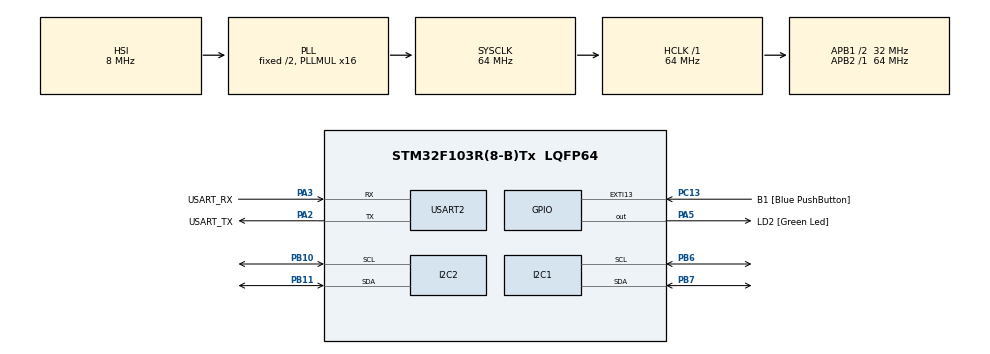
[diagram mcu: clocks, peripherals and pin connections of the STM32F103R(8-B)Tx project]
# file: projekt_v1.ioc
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Mcu.Family=STM32F1
Mcu.Name=STM32F103R(8-B)Tx
Mcu.Package=LQFP64
NVIC.EXTI15_10_IRQn=true\:0\:0\:false\:false\:true\:true\:true
NVIC.PriorityGroup=NVIC_PRIORITYGROUP_4
NVIC.USART2_IRQn=true\:0\:0\:false\:false\:true\:true\:true
PA13.GPIO_Label=TMS
PA13.Mode=Serial_Wire
PA13.Signal=SYS_JTMS-SWDIO
PA14.GPIO_Label=TCK
PA14.Mode=Serial_Wire
PA14.Signal=SYS_JTCK-SWCLK
PA2.GPIO_Label=USART_TX
PA2.GPIO_Mode=GPIO_MODE_AF_PP
PA2.GPIO_PuPd=GPIO_NOPULL
PA2.GPIO_Speed=GPIO_SPEED_FREQ_LOW
PA2.Mode=Asynchronous
PA2.Signal=USART2_TX
PA3.GPIO_Label=USART_RX
PA3.GPIO_Mode=GPIO_MODE_AF_PP
PA3.GPIO_PuPd=GPIO_NOPULL
PA3.GPIO_Speed=GPIO_SPEED_FREQ_LOW
PA3.Mode=Asynchronous
PA3.Signal=USART2_RX
PA5.GPIO_Label=LD2 [Green Led]
PA5.GPIO_ModeDefaultOutputPP=GPIO_MODE_OUTPUT_PP
PA5.GPIO_PuPd=GPIO_NOPULL
PA5.GPIO_Speed=GPIO_SPEED_FREQ_LOW
PA5.Signal=GPIO_Output
PB10.Mode=I2C
PB10.Signal=I2C2_SCL
PB11.Mode=I2C
PB11.Signal=I2C2_SDA
PB3.GPIO_Label=SWO
PB3.Signal=SYS_JTDO-TRACESWO
PB6.Mode=I2C
PB6.Signal=I2C1_SCL
PB7.Mode=I2C
PB7.Signal=I2C1_SDA
PC13-TAMPER-RTC.GPIO_Label=B1 [Blue PushButton]
PC13-TAMPER-RTC.GPIO_PuPd=GPIO_NOPULL
PC13-TAMPER-RTC.Signal=GPXTI13
PC14-OSC32_IN.Mode=LSE-External-Oscillator
PC14-OSC32_IN.Signal=RCC_OSC32_IN
PC15-OSC32_OUT.Mode=LSE-External-Oscillator
PC15-OSC32_OUT.Signal=RCC_OSC32_OUT
PD0-OSC_IN.Mode=HSE-External-Clock-Source
PD0-OSC_IN.Signal=RCC_OSC_IN
PD1-OSC_OUT.Mode=HSE-External-Clock-Source
PD1-OSC_OUT.Signal=RCC_OSC_OUT
ProjectManager.HeapSize=0x200
ProjectManager.StackSize=0x400
ProjectManager.TargetToolchain=STM32CubeIDE
RCC.AHBFreq_Value=64000000
RCC.APB1CLKDivider=RCC_HCLK_DIV2
RCC.APB1Freq_Value=32000000
RCC.APB1TimFreq_Value=64000000
RCC.APB2Freq_Value=64000000
RCC.APB2TimFreq_Value=64000000
RCC.HCLKFreq_Value=64000000
RCC.PLLMUL=RCC_PLL_MUL16
RCC.RTCClockSelection=RCC_RTCCLKSOURCE_LSE
RCC.SYSCLKFreq_VALUE=64000000
RCC.SYSCLKSource=RCC_SYSCLKSOURCE_PLLCLK
RCC.USBFreq_Value=64000000
USART2.VirtualMode=VM_ASYNC
board=NUCLEO-F103RB

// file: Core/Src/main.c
/* USER CODE BEGIN Header */
/**
  ******************************************************************************
  * @file           : main.c
  * @brief          : Main program body
  ******************************************************************************
  * @attention
  *
  * <h2><center>&copy; Copyright (c) 2021 STMicroelectronics.
  * All rights reserved.</center></h2>
  *
  * This software component is licensed by ST under BSD 3-Clause license,
  * the "License"; You may not use this file except in compliance with the
  * License. You may obtain a copy of the License at:
  *                        opensource.org/licenses/BSD-3-Clause
  *
  ******************************************************************************
  */
/* USER CODE END Header */
#include "main.h"

/* USER CODE BEGIN Includes */
#include <string.h>
#include <stdio.h>
#include <stdbool.h>
#include <stdarg.h>
#include <string.h>
#include <inttypes.h>
#include "i2c-lcd.h"
/* USER CODE END Includes */

I2C_HandleTypeDef hi2c1;
I2C_HandleTypeDef hi2c2;

UART_HandleTypeDef huart2;

/* USER CODE BEGIN PV */
#define USART_TXBUF_LEN 1512
#define USART_RXBUF_LEN 256

uint8_t USART_TxBuf[USART_TXBUF_LEN];
uint8_t USART_RxBuf[USART_RXBUF_LEN];
__IO int USART_TX_Empty = 0; //__IO = volatile = jest to informacja dla kompilatora że nie ma prawa zaoptymalizować obsługi,
__IO int USART_TX_Busy = 0;  //nie można tej zmiennej wczytywać do rejestru,
__IO int USART_RX_Empty = 0; //należy ją za każdym razem pobierać z pamięci, jest ulotna, jej wartość może się zmienić w każdej chwili
__IO int USART_RX_Busy = 0;

int interval = 2000;
uint16_t timer = 0;
uint8_t cycle = 0;

uint8_t celsiusSet = 1;

float farenheitTemp;
float measurements[1024];
uint16_t measurementsIndex = 0;

unsigned char commandBuffer[128];
unsigned char tempCommandBuffer[128];
uint8_t commandBufferSize = 0;
uint8_t frameStartDetected = 0;
uint8_t frameEndDetected = 0;
uint8_t escape = 0;
uint8_t checksum;

struct lcd_disp disp;

uint8_t showEnd = 0;
uint8_t showData = 0;
uint16_t showDataIndex = 0;
uint8_t showDataError = 0;
uint8_t showUnit = 0;
uint8_t showDelete = 0;
uint8_t showInterval = 0;
uint8_t showIntervalError = 0;
uint16_t showIntervalValue = 0;
uint8_t showWrongCommand = 0;
uint8_t showChecksums = 0;
uint8_t showWrongFrameSize = 0;
uint8_t showingMessage = 0;

uint16_t showTimer = 0;

/* USER CODE END PV */

void SystemClock_Config(void);
static void MX_GPIO_Init(void);
static void MX_USART2_UART_Init(void);
static void MX_I2C2_Init(void);
static void MX_I2C1_Init(void);

/* USER CODE BEGIN 0 */

uint8_t USART_isNotEmpty(){ //jeśli coś jest w buforze kołowym to zwraca 1, jeśli jest pusty to zwraca 0
	if(USART_RX_Empty == USART_RX_Busy) {
		return 0;
	} else {
		return 1;
	}
} //USART_kbhit

int USART_getchar() {

	uint8_t tmp;

	if(USART_RX_Empty != USART_RX_Busy) {
		tmp = USART_RxBuf[USART_RX_Busy];
		USART_RX_Busy++;

		if(USART_RX_Busy >= USART_RXBUF_LEN) USART_RX_Busy = 0;

		return tmp;
	} else return -1;
}

uint8_t USART_getline(char *buf) {

	static uint8_t bf[128];
	static uint8_t idx = 0;
	int i;
	uint8_t ret;

	while(USART_isNotEmpty()) {
		bf[idx] = USART_getchar();

		if(bf[idx] == 10 || bf[idx] == 13) { 	//sprawdzenie czy znak jest znakiem końca linii lub powrotem karetki
			bf[idx] = 0;						//jeśli jest to podmieniany jest na 0, ponieważ w c string kończy się zerem

			for(i=0; i<=idx; i++){
				buf[i] = bf[i];
			}

			ret = idx;
			idx = 0;
			return ret; //zwracam odebraną ilość znaków
		} else {
			idx++;
			if(idx>=128) idx = 0;
		}
	}
	return 0;
} //USART_getline

void USART_fsend(char * format,...) {

	char tmp_rs[256];
	int i;
	__IO int idx;
	va_list arglist;
	va_start(arglist, format);
	vsprintf(tmp_rs, format, arglist);
	va_end(arglist);

	idx = USART_TX_Empty;

	for(i=0; i<strlen(tmp_rs); i++) {
		USART_TxBuf[idx] = tmp_rs[i];
		idx++;
		if (idx >= USART_TXBUF_LEN) idx = 0;
	}

	__disable_irq();

	if((USART_TX_Empty == USART_TX_Busy) && (__HAL_UART_GET_FLAG(&huart2, UART_FLAG_TXE) == SET)) { //sprawdzanie dodatowo zajętości bufora nadajnika
		USART_TX_Empty = idx;																		//TXE = SET mówi o tym że bufor nadajnika jest pusty
		uint8_t tmp = USART_TxBuf[USART_TX_Busy];
		USART_TX_Busy++;

		if(USART_TX_Busy >= USART_TXBUF_LEN) USART_TX_Busy = 0;
		HAL_UART_Transmit_IT(&huart2, &tmp, 1);

	} else {
		USART_TX_Empty = idx;
	}
	__enable_irq();
} //USART_fsend

void HAL_UART_TxCpltCallback(UART_HandleTypeDef *huart){
	if(huart == &huart2) {
		if(USART_TX_Empty != USART_TX_Busy) { //sprawdzenie czy jest coś do wysłania
			uint8_t tmp = USART_TxBuf[USART_TX_Busy];
			USART_TX_Busy++;
			if(USART_TX_Busy >= USART_TXBUF_LEN) USART_TX_Busy = 0;
			HAL_UART_Transmit_IT(&huart2, &tmp, 1);
		}
	}
}

void HAL_UART_RxCpltCallback(UART_HandleTypeDef *huart) {
	if(huart == &huart2) {
		USART_RX_Empty++;
		if(USART_RX_Empty >= USART_RXBUF_LEN) USART_RX_Empty = 0;
		HAL_UART_Receive_IT(&huart2, &USART_RxBuf[USART_RX_Empty], 1);
	}
}

unsigned char crc8(unsigned char poly, unsigned char* data, uint8_t size) {
	/*
	 * Jest to funkcja odpowiedzialna za obliczanie
	 * sumy kontrolnej z przesłanych danych.
	 * */
    unsigned char crc = 0x00;
    int bit;

    while(size--) {
        crc ^= *data++;
        for(bit=0; bit<8; bit++) {
            if(crc & 0x80) {
                crc = (crc << 1) ^ poly;
            } else {
                crc <<= 1;
            }
        }
    }

    return crc;

}

void sendPayload(char* format, ...) {
	/*
	 * Jest to funkcja odpowiedzialna za wysyłanie
	 * komunikatów w sposób odpowiedni dla zaprojektowanego
	 * protokołu komunikacyjnego.
	 * */
	unsigned char payload[256];
	va_list payload_list;
	va_start(payload_list, format);
	vsprintf((char *)payload, format, payload_list);
	va_end(payload_list);

	USART_fsend("!%s%c;\r\n", payload, crc8(0xA6, payload, strlen((const char *)payload)));
}

void commandCheck(unsigned char* data, uint8_t size, unsigned char checksum) {
	/*
	 * Jest to funkcja odpowiedzialna za zdekodowanie
	 * otrzymanej komendy. Jako argumenty przyjmuje
	 * ona przesłaną komendę, jej rozmiar oraz przesłaną
	 * sumę kontrolną w celach jej weryfikacji.
	 * */

	unsigned char checksumCheck = crc8(0xA6, data, size);

	/*
	 * Pierwszym krokiem jest obliczenie sumy kontrolnej
	 * z otrzymanej komendy i prównanie jej z tą przesłaną.
	 * Jeśli się zgadzają to następnie komenda jest analizowana.
	 * */
	if(checksum == checksumCheck) {
		sendPayload("Checksums are correct");

		int interval_value;
		uint16_t read_value;

		if(memcmp(data,"setunit:c",9) == 0) { //memcompare
			sendPayload("Setting unit to Celsius.");
			celsiusSet = 1;
			showUnit = 1;
		} else if(memcmp(data,"setunit:f",9) == 0) {
			sendPayload("Setting unit to Farenheit.");
			celsiusSet = 0;
			showUnit = 1;
		} else if(sscanf((const char *)data,"setint:%i",&interval_value)) { //setting interval
			if(interval_value > 0) {
				sendPayload("Interval set to %i", interval_value);
				interval = interval_value;
				showIntervalValue = interval_value;
				showInterval = 1;
			} else {
				sendPayload("Interval cannot be less than 1");
				showIntervalError = 1;
			}

		} else if(sscanf((const char *)data,"read:%" SCNu16, &read_value)) { //reading saved measurement
			if(read_value >= measurementsIndex) {
				sendPayload("Value #%" SCNu16 " wasn't written yet", read_value);
				showDataError = 1;
				showDataIndex = read_value;
			} else {
				if(celsiusSet) {
					sendPayload("Value #%" SCNu16 ": %.2f C", read_value, measurements[read_value]);
					showData = 1;
					showDataIndex = read_value;
				} else {
					farenheitTemp = measurements[read_value] * 9/5 + 32;
					sendPayload("Value #%" SCNu16 ": %.2f F", read_value, farenheitTemp);
					showData = 1;
					showDataIndex = read_value;
				}

			}
		} else if(memcmp(data,"deldata",7) == 0) { //deleting saved measurements
			sendPayload("Deleting saved measurements");
			memset(measurements, 0, sizeof measurements);
			measurementsIndex = 0;
			showDelete = 1;
		} else {
			sendPayload("Command not recognized");
			showWrongCommand = 1;
		}

	}
	/*
	 * Jeśli sumy kontrolne się nie zgadzają
	 * to przesyłany oraz wyświetlany jest
	 * odpowiedni komunikat.
	 * */
	else {
		sendPayload("Checksums don't match!");
		showChecksums = 1;
	}

}

float readTemp() {
	/*
	 * Jest to funkcja odpowiedzialna za odczytywanie
	 * termperatury z czujnika MCP9808. Zwraca ona
	 * obliczoną temperaturę przedstawioną w stopniach
	 * Celsjusza.
	 * */
	float temperature;
	uint8_t temp[2];
	float f_temp[2];

	if(HAL_I2C_Mem_Read(&hi2c2, (0x18 << 1) | 0x01, 0x05, 1, temp, 2, 10) == HAL_OK) {
		temp[0] = temp[0] & 0x1F;
		if((temp[0] & 0x10) == 0x10) {
		  temp[0] = temp[0] & 0x0F;
		  f_temp[0] = temp[0];
		  f_temp[1] = temp[1];
		  temperature = 256 - (f_temp[0] * 16 + f_temp[1] / 16);
		} else {
		  f_temp[0] = temp[0];
		  f_temp[1] = temp[1];
		  temperature = (f_temp[0] * 16 + f_temp[1] / 16);
		}
	} else return -1000;

	return temperature;
}

void showTemp(uint8_t i) {
	/*
	 * Jest to funkcja odpowiedzialna za wyświetlanie
	 * temperatury na wyświetlaczu. Przyjmuje jako argument
	 * i, które oznacza który odczyt chcemy wyświetlić,
	 * np. i=0 oznacza że chcemy wyświetlić najnowszy
	 * odczyt, a i=1 oznacza że chcemy odczytać przedostatni
	 * odczyt.
	 **/
	  if(celsiusSet) {
		  sprintf((char *)disp.f_line, "Temperature:");
		  sprintf((char *)disp.s_line, "Celsius    %.2f", measurements[measurementsIndex - i]);
		  if(lcd_display(&disp) == 0) {
			  sendPayload("Display error");
		  }
	  } else {
		  farenheitTemp = measurements[measurementsIndex - i] * 9/5 + 32;
			  sprintf((char *)disp.f_line, "Temperature:");
			  sprintf((char *)disp.s_line, "Farenheit  %.2f", farenheitTemp);
			  if(lcd_display(&disp) == 0) {
				  sendPayload("Display error");
			  }
	  }
}

/* USER CODE END 0 */

int main(void)
{

  /* MCU Configuration--------------------------------------------------------*/

  /* Reset of all peripherals, Initializes the Flash interface and the Systick. */
  HAL_Init();

  /* Configure the system clock */
  SystemClock_Config();

  /* Initialize all configured peripherals */
  MX_GPIO_Init();
  MX_USART2_UART_Init();
  MX_I2C2_Init();
  MX_I2C1_Init();
  /* USER CODE BEGIN 2 */
  HAL_UART_Receive_IT(&huart2, &USART_RxBuf[0], 1);
  uint8_t read_char;

  disp.addr = (0x27 << 1);
  disp.bl = true;
  if(lcd_init(&disp) == 0) {
	  sendPayload("Display error");
  }
  /* USER CODE END 2 */

  /* Infinite loop */
  /* USER CODE BEGIN WHILE */
  while (1)
  {

	  /*
	   * Ta sekcja kodu odpowiedzialna jest za kolekcjonowanie poprawnej ramki
	   * */

	  if(USART_isNotEmpty()) {
		  read_char = USART_getchar();
		  /*
		   *  Jeśli przesłany znak jest znakiem początku ramki
		   *  to tablica w której zbierana jest ramka jest czyszczona
		   *  (wszystkie jej elementy są zerowane) oraz indeks
		   *  zapisywanych wartości jest również zerowany. Dodatkowo
		   *  ustawiana na 1 jest również flaga wykrycia początku ramki,
		   *  która jest wykorzystywana dalej w kodzie. Zerowany jest
		   *  również indeks rozmiaru ramki.
		   *  */
		  if(read_char == 0x21) {
			  frameStartDetected = 1;
			  memset(commandBuffer, 0, sizeof commandBuffer);
			  commandBufferSize = 0;
		  }
		  /*
		   * Jeśli przesłany znak jest znakiem końca ramki i flaga
		   * wykrycia początku ramki jest ustawiona wtedy otrzymana
		   * ramka zostaje poddana analizie
		   * */
		  else if(read_char == 0x3B && frameStartDetected) {
			  if(commandBufferSize > 2) {

				  /*
				   * Jeśli rozmiar ramki jest poprawny to wyciągana jest
				   * suma kontrolna z danych (ostatni element w tablicy)
				   * i czysta komenda np. "setint:1000" przesyłana jest
				   * do analizy do funkcji commandCheck. Po analizie
				   * flaga wykrycia początku i końca ramki jest resetowana
				   * co pozwala na odebranie kolejnego komunikatu
				   * */

				  checksum = commandBuffer[commandBufferSize - 1];
				  memset(tempCommandBuffer, 0, sizeof tempCommandBuffer);
				  memcpy(tempCommandBuffer, commandBuffer, commandBufferSize - 1);

				  commandCheck(tempCommandBuffer, commandBufferSize-1, checksum);

				  frameStartDetected = 0;
				  frameEndDetected = 0;

				  /*
				   * jeśli ramka jest zbyt krótka to flaga wykrycia
				   * początku oraz końca ramki jest resetowana
				   * oraz wysyłany jest komunikat o błędzie
				   * */

			  } else {
				  frameStartDetected = 0;
				  frameEndDetected = 0;
				  showWrongFrameSize = 1;
				  sendPayload("Frame too short");
			  }
		  }
		  /*
		   * Sprawdzenie stanu flagi startu oraz końca ramki oraz przesyłanego znaku.
		   * W momencie kiedy nie jest przesyłany znak początku ramki
		   * (nie chcemy dodawać go do ładunku) dodawana jest treść ramki do ładunku.
		   * W przypadku przesyłania znaków kodowanych:
		   * - "\%" - znak początku ramki
		   * - "\^" - znak końca ramki
		   * Są one rozkodowywane oraz do ładunku dodawany jest rozkodowany znak
		   * */
		  else if(frameStartDetected && !frameEndDetected && read_char != 0x21) {
				 if(read_char == 0x5C && escape == 0) {
					 escape = 1;
				 } else if(escape == 0) {
					commandBuffer[commandBufferSize++] = read_char;
				 } else {
					if(read_char == 0x25) {
						commandBuffer[commandBufferSize++] = 0x21;
					} else if(read_char == 0x5E) {
						commandBuffer[commandBufferSize++] = 0x3B;
					} else if(read_char == 0x5C) {
						commandBuffer[commandBufferSize++] = 0x5C;
					} else {
						frameStartDetected = 0;
					}
					escape = 0;
				 }
				/*
				 * Po każdym dodaniu znaku do ładunku zostaje
				 * sprawdzany indeks rozmiaru ramki, który
				 * nie może przekraczać 126 elementów
				 * 1-125 dane + 1 CRC
				 * */
				if(commandBufferSize > 126) {
					frameStartDetected = 0;
					showWrongFrameSize = 1;
					sendPayload("Frame too long");
				}
		  }
	  }

	  /*
	   * Ta sekcja kodu odpowiedzialna jest za wyświetlanie
	   * temperatury w odpowieniej jednostce w zadanym
	   * interwale czasowym
	   * */

	  if(cycle) {
		  measurements[measurementsIndex] = readTemp();
		  cycle = 0;

		  /*
		   * Sprawdzane jest czy udało się poprawnie odczytać wartość
		   * z termometra - wartość "-1000" oznacza błąd odczytu.
		   * Jeśli odczyt jest prawidłowy to wyświetlana jest
		   * temperatura w odpowiedniej jednostce.
		   * */
		  if(measurements[measurementsIndex] != -1000) {
			  if(showingMessage == 0) {
				  showTemp(0);
			  }
			  celsiusSet ? sendPayload("Temperature: %.2f C", measurements[measurementsIndex]) : sendPayload("Temperature: %.2f F", farenheitTemp);
			  measurementsIndex++;
			  if(measurementsIndex > 1023) {
				  measurementsIndex = 0;
			  }
		  }
		  /*
		   * W przypadku błędu odczytu, odpowiedni komunikat jest przesyłany
		   * oraz wyświetlany na wyświetlaczu
		   * */
		  else {
			  sendPayload("MCPC9808 sensor error");
			  sprintf((char *)disp.f_line, "  !!! ERROR !!!");
			  sprintf((char *)disp.s_line, "MCPC9808 NOT CON");
			  if(lcd_display(&disp) == 0) {
				  sendPayload("Display error");
			  }
		  }
	  }

	  /*
	   * Ta sekcja odpowiedzialna jest za wyświetlanie odpowiednich komunikatów
	   * */

	  if(showChecksums) {
		  if(showingMessage == 0) {
			  showingMessage = 1;
			  showTimer = 0;
			  showEnd = 0;
			  sprintf((char *)disp.f_line, "   Checksums");
			  sprintf((char *)disp.s_line, "   don't match");

			  if(lcd_display(&disp) == 0) {
				  sendPayload("Display error");
			  }
		  }
		  if(showEnd) {
			  showChecksums = 0;
			  showingMessage = 0;
			  showTemp(1);
		  }
	  } else if(showData) {
		  if(showingMessage == 0) {
			  showingMessage = 1;
			  showTimer = 0;
			  showEnd = 0;
			  if(celsiusSet) {
				  sprintf((char *)disp.f_line, "Measurement#%d", showDataIndex);
				  sprintf((char *)disp.s_line, "     %.2fC", measurements[showDataIndex]);
				  if(lcd_display(&disp) == 0) {
					  sendPayload("Display error");
				  }
			  } else {
				  farenheitTemp = measurements[showDataIndex] * 9/5 + 32;
				  sprintf((char *)disp.f_line, "Measurement#%d", showDataIndex);
				  sprintf((char *)disp.s_line, "     %.2fF", farenheitTemp);
				  if(lcd_display(&disp) == 0) {
					  sendPayload("Display error");
				  }
			  }
		  }
		  if(showEnd) {
			  showData = 0;
			  showingMessage = 0;
			  showTemp(1);
		  }
	  } else if(showDataError) {
		  if(showingMessage == 0) {
			  showingMessage = 1;
			  showTimer = 0;
			  showEnd = 0;
			  sprintf((char *)disp.f_line, "Value #%d was", showDataIndex);
			  sprintf((char *)disp.s_line, "not yet written");

			  if(lcd_display(&disp) == 0) {
				  sendPayload("Display error");
			  }
		  }
		  if(showEnd) {
			  showDataError = 0;
			  showingMessage = 0;
			  showTemp(1);
		  }
	  } else if(showDelete) {
		  if(showingMessage == 0) {
			  showingMessage = 1;
			  showTimer = 0;
			  showEnd = 0;
			  sprintf((char *)disp.f_line, "All measurements");
			  sprintf((char *)disp.s_line, "has been deleted");

			  if(lcd_display(&disp) == 0) {
				  sendPayload("Display error");
			  }
		  }

		  if(showEnd) {
			  showDelete = 0;
			  showingMessage = 0;
			  showTemp(1);
		  }
	  } else if(showWrongCommand) {
		  if(showingMessage == 0) {
			  showingMessage = 1;
			  showTimer = 0;
			  showEnd = 0;
			  sprintf((char *)disp.f_line, "  Command not");
			  sprintf((char *)disp.s_line, "  recognized");

			  if(lcd_display(&disp) == 0) {
				  sendPayload("Display error");
			  }
		  }
		  if(showEnd) {
			  showWrongCommand = 0;
			  showingMessage = 0;
			  showTemp(1);
		  }
	  } else if(showUnit) {
		  if(!cycle && !showingMessage) {
			  showingMessage = 1;
			  showTemp(1);
		  }

		  if(cycle) {
			  showUnit = 0;
			  showingMessage = 0;
		  }
	  } else if(showInterval) {
		  if(showingMessage == 0) {
			  showingMessage = 1;
			  showTimer = 0;
			  showEnd = 0;
			  sprintf((char *)disp.f_line, "Interval was");
			  sprintf((char *)disp.s_line, "set to %dms", showIntervalValue);
			  if(lcd_display(&disp) == 0) {
				  sendPayload("Display error");
			  }
		  }
		  if(showEnd) {
			  showInterval = 0;
			  showingMessage = 0;
			  showTemp(1);
		  }
	  } else if(showIntervalError) {
		  if(showingMessage == 0) {
			  showingMessage = 1;
			  showTimer = 0;
			  showEnd = 0;
			  sprintf((char *)disp.f_line, " Interval can't");
			  sprintf((char *)disp.s_line, " be less than 1");

			  if(lcd_display(&disp) == 0) {
				  sendPayload("Display error");
			  }
		  }
		  if(showEnd) {
			  showIntervalError = 0;
			  showingMessage = 0;
			  showTemp(1);
		  }
	  } else if(showWrongFrameSize) {
		  if(showingMessage == 0) {
			  showingMessage = 1;
			  showTimer = 0;
			  showEnd = 0;
			  sprintf((char *)disp.f_line, "   Wrong frame");
			  sprintf((char *)disp.s_line, "      size");

			  if(lcd_display(&disp) == 0) {
				  sendPayload("Display error");
			  }
		  }
		  if(showEnd) {
			  showWrongFrameSize = 0;
			  showingMessage = 0;
			  showTemp(1);
		  }
	  }
  }

    /* USER CODE END WHILE */

}

void SystemClock_Config(void)
{
  RCC_OscInitTypeDef RCC_OscInitStruct = {0};
  RCC_ClkInitTypeDef RCC_ClkInitStruct = {0};

  /** Initializes the RCC Oscillators according to the specified parameters
  * in the RCC_OscInitTypeDef structure.
  */
  RCC_OscInitStruct.OscillatorType = RCC_OSCILLATORTYPE_HSI;
  RCC_OscInitStruct.HSIState = RCC_HSI_ON;
  RCC_OscInitStruct.HSICalibrationValue = RCC_HSICALIBRATION_DEFAULT;
  RCC_OscInitStruct.PLL.PLLState = RCC_PLL_ON;
  RCC_OscInitStruct.PLL.PLLSource = RCC_PLLSOURCE_HSI_DIV2;
  RCC_OscInitStruct.PLL.PLLMUL = RCC_PLL_MUL16;
  if (HAL_RCC_OscConfig(&RCC_OscInitStruct) != HAL_OK)
  {
    Error_Handler();
  }
  /** Initializes the CPU, AHB and APB buses clocks
  */
  RCC_ClkInitStruct.ClockType = RCC_CLOCKTYPE_HCLK|RCC_CLOCKTYPE_SYSCLK
                              |RCC_CLOCKTYPE_PCLK1|RCC_CLOCKTYPE_PCLK2;
  RCC_ClkInitStruct.SYSCLKSource = RCC_SYSCLKSOURCE_PLLCLK;
  RCC_ClkInitStruct.AHBCLKDivider = RCC_SYSCLK_DIV1;
  RCC_ClkInitStruct.APB1CLKDivider = RCC_HCLK_DIV2;
  RCC_ClkInitStruct.APB2CLKDivider = RCC_HCLK_DIV1;

  if (HAL_RCC_ClockConfig(&RCC_ClkInitStruct, FLASH_LATENCY_2) != HAL_OK)
  {
    Error_Handler();
  }
}

static void MX_I2C1_Init(void)
{

  hi2c1.Instance = I2C1;
  hi2c1.Init.ClockSpeed = 100000;
  hi2c1.Init.DutyCycle = I2C_DUTYCYCLE_2;
  hi2c1.Init.OwnAddress1 = 0;
  hi2c1.Init.AddressingMode = I2C_ADDRESSINGMODE_7BIT;
  hi2c1.Init.DualAddressMode = I2C_DUALADDRESS_DISABLE;
  hi2c1.Init.OwnAddress2 = 0;
  hi2c1.Init.GeneralCallMode = I2C_GENERALCALL_DISABLE;
  hi2c1.Init.NoStretchMode = I2C_NOSTRETCH_DISABLE;
  if (HAL_I2C_Init(&hi2c1) != HAL_OK)
  {
    Error_Handler();
  }

}

static void MX_I2C2_Init(void)
{

  hi2c2.Instance = I2C2;
  hi2c2.Init.ClockSpeed = 100000;
  hi2c2.Init.DutyCycle = I2C_DUTYCYCLE_2;
  hi2c2.Init.OwnAddress1 = 0;
  hi2c2.Init.AddressingMode = I2C_ADDRESSINGMODE_7BIT;
  hi2c2.Init.DualAddressMode = I2C_DUALADDRESS_DISABLE;
  hi2c2.Init.OwnAddress2 = 0;
  hi2c2.Init.GeneralCallMode = I2C_GENERALCALL_DISABLE;
  hi2c2.Init.NoStretchMode = I2C_NOSTRETCH_DISABLE;
  if (HAL_I2C_Init(&hi2c2) != HAL_OK)
  {
    Error_Handler();
  }

}

static void MX_USART2_UART_Init(void)
{

  huart2.Instance = USART2;
  huart2.Init.BaudRate = 115200;
  huart2.Init.WordLength = UART_WORDLENGTH_8B;
  huart2.Init.StopBits = UART_STOPBITS_1;
  huart2.Init.Parity = UART_PARITY_NONE;
  huart2.Init.Mode = UART_MODE_TX_RX;
  huart2.Init.HwFlowCtl = UART_HWCONTROL_NONE;
  huart2.Init.OverSampling = UART_OVERSAMPLING_16;
  if (HAL_UART_Init(&huart2) != HAL_OK)
  {
    Error_Handler();
  }

}

static void MX_GPIO_Init(void)
{
  GPIO_InitTypeDef GPIO_InitStruct = {0};

  /* GPIO Ports Clock Enable */
  __HAL_RCC_GPIOC_CLK_ENABLE();
  __HAL_RCC_GPIOD_CLK_ENABLE();
  __HAL_RCC_GPIOA_CLK_ENABLE();
  __HAL_RCC_GPIOB_CLK_ENABLE();

  /*Configure GPIO pin Output Level */
  HAL_GPIO_WritePin(LD2_GPIO_Port, LD2_Pin, GPIO_PIN_RESET);

  /*Configure GPIO pin : B1_Pin */
  GPIO_InitStruct.Pin = B1_Pin;
  GPIO_InitStruct.Mode = GPIO_MODE_IT_RISING;
  GPIO_InitStruct.Pull = GPIO_NOPULL;
  HAL_GPIO_Init(B1_GPIO_Port, &GPIO_InitStruct);

  /*Configure GPIO pin : LD2_Pin */
  GPIO_InitStruct.Pin = LD2_Pin;
  GPIO_InitStruct.Mode = GPIO_MODE_OUTPUT_PP;
  GPIO_InitStruct.Pull = GPIO_NOPULL;
  GPIO_InitStruct.Speed = GPIO_SPEED_FREQ_LOW;
  HAL_GPIO_Init(LD2_GPIO_Port, &GPIO_InitStruct);

  /* EXTI interrupt init*/
  HAL_NVIC_SetPriority(EXTI15_10_IRQn, 0, 0);
  HAL_NVIC_EnableIRQ(EXTI15_10_IRQn);

}

void Error_Handler(void)
{
  __disable_irq();
  while (1)
  {
  }
}

/************************ (C) COPYRIGHT STMicroelectronics *****END OF FILE****/
